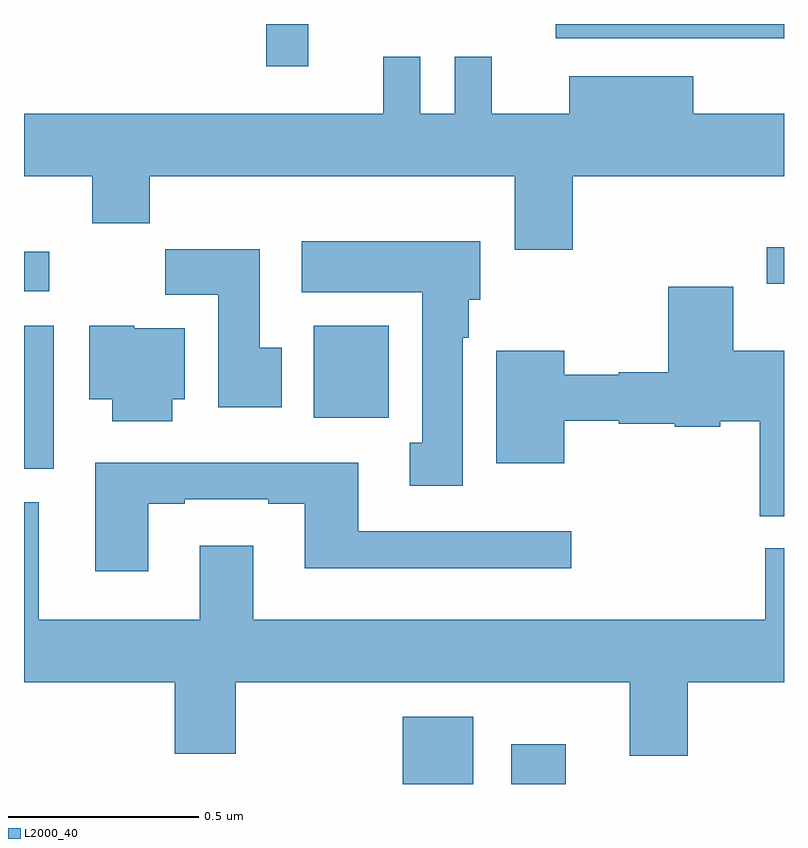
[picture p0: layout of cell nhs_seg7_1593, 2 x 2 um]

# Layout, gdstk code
import gdstk
lib = gdstk.Library(unit=1e-6, precision=1e-09)
def R(c, l, rs):  # rectangles x0, y0, x1, y1
    for r in rs: c.add(gdstk.rectangle(r[:2], r[2:], *l))
def P(c, l, *ps):  # polygons
    for p in ps: c.add(gdstk.Polygon(p, *l))
L2000_40 = (2000, 40)

nhs_seg7_1593 = lib.new_cell('nhs_seg7_1593')
R(nhs_seg7_1593, L2000_40, [(133.997,1015,134.182,1015.177), (134.282,1015,134.425,1015.105), (133,1015.83,133.078,1016.206), (133.763,1015.964,133.96,1016.206), (133,1016.297,133.066,1016.401), (134.955,1016.316,135,1016.412), (133.638,1016.889,133.748,1017), (134.399,1016.963,135,1017)])
P(nhs_seg7_1593, L2000_40, [(134.444,1016.6),(135,1016.6),(135,1016.764),(134.761,1016.764),(134.761,1016.863),(134.435,1016.863),(134.435,1016.764),(134.231,1016.764),(134.231,1016.914),(134.133,1016.914),(134.133,1016.764),(134.043,1016.764),(134.043,1016.914),(133.946,1016.914),(133.946,1016.764),(133,1016.764),(133,1016.6),(133.18,1016.6),(133.18,1016.476),(133.331,1016.476),(133.331,1016.6),(134.291,1016.6),(134.291,1016.406),(134.444,1016.406)],
  [(134.155,1016.174),(134.17,1016.174),(134.17,1016.274),(134.2,1016.274),(134.2,1016.428),(133.731,1016.428),(133.731,1016.294),(134.048,1016.294),(134.048,1015.898),(134.015,1015.898),(134.015,1015.785),(134.155,1015.785)],
  [(133.678,1016.148),(133.621,1016.148),(133.621,1016.407),(133.372,1016.407),(133.372,1016.288),(133.511,1016.288),(133.511,1015.992),(133.678,1015.992)],
  [(135,1016.14),(134.866,1016.14),(134.866,1016.308),(134.696,1016.308),(134.696,1016.084),(134.565,1016.084),(134.565,1016.077),(134.422,1016.077),(134.422,1016.14),(134.243,1016.14),(134.243,1015.844),(134.422,1015.844),(134.422,1015.956),(134.565,1015.956),(134.565,1015.948),(134.712,1015.948),(134.712,1015.94),(134.832,1015.94),(134.832,1015.955),(134.936,1015.955),(134.936,1015.705),(135,1015.705)],
  [(133.39,1016.012),(133.423,1016.012),(133.423,1016.2),(133.29,1016.2),(133.29,1016.206),(133.172,1016.206),(133.172,1016.012),(133.232,1016.012),(133.232,1015.955),(133.39,1015.955)],
  [(133.327,1015.737),(133.423,1015.737),(133.423,1015.749),(133.643,1015.749),(133.643,1015.737),(133.739,1015.737),(133.739,1015.568),(134.44,1015.568),(134.44,1015.665),(133.879,1015.665),(133.879,1015.846),(133.187,1015.846),(133.187,1015.56),(133.327,1015.56)],
  [(134.747,1015.268),(135,1015.268),(135,1015.62),(134.951,1015.62),(134.951,1015.432),(133.603,1015.432),(133.603,1015.627),(133.463,1015.627),(133.463,1015.432),(133.039,1015.432),(133.039,1015.741),(133,1015.741),(133,1015.268),(133.397,1015.268),(133.397,1015.079),(133.557,1015.079),(133.557,1015.268),(134.594,1015.268),(134.594,1015.074),(134.747,1015.074)])

lib.write_gds('nhs_seg7_1593.gds')
